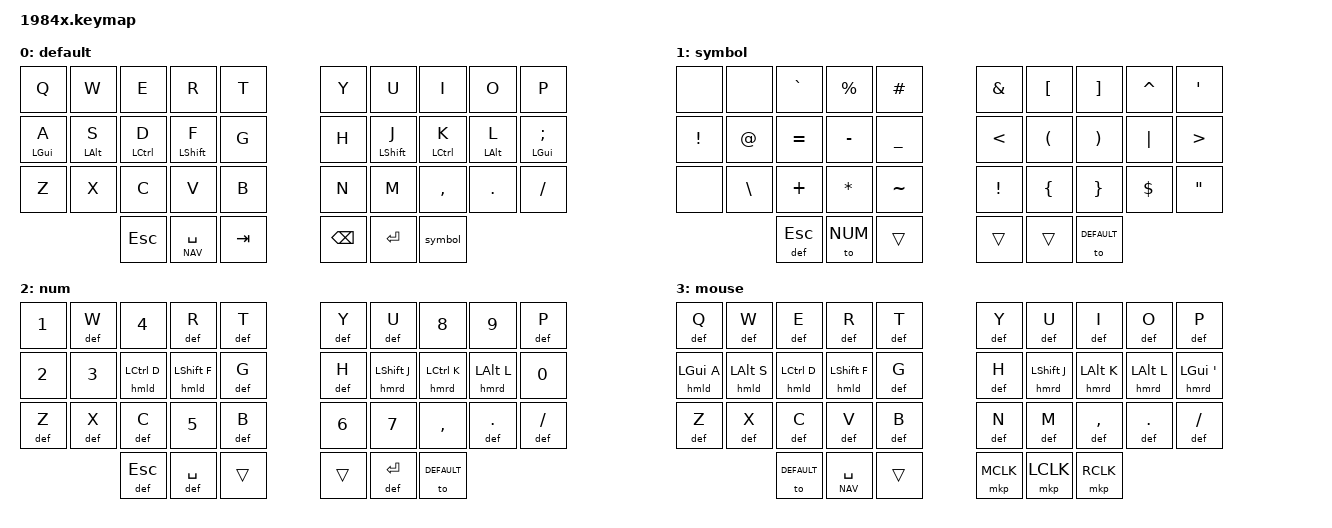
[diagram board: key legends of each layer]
/*
 * Copyright (c) 2020 The ZMK Contributors
 *
 * SPDX-License-Identifier: MIT
 */

#include <behaviors.dtsi>
#include <dt-bindings/zmk/keys.h>
#include <dt-bindings/zmk/bt.h>
#include <dt-bindings/zmk/ext_power.h>
#include <dt-bindings/zmk/mouse.h>

#define DEFAULT 0
#define SYMBOL  1
#define NUM     2
#define MOUSE   3
#define NAV     4




#ifdef HAS_MOUSE_KEYS
  #include <dt-bindings/zmk/mouse.h>
  #include <behaviors/mouse_keys.dtsi>
#endif  // HAS_MOUSE_KEYS

#ifdef HAS_MOUSE_TP
  // We store the trackpoint settings in a separate file
  // to make organization a little easier.
  #include "include/mouse_tp.dtsi"
#endif  // HAS_MOUSE_TP

#ifdef HAS_MOUSE_KEYS
  #define U_THUMB_INNER &mo MOUSE_KEYS
#else
  #define U_THUMB_INNER &none
#endif  // HAS_MOUSE_KEYS

#ifdef HAS_MOUSE_TP
  #define U_TOG_TP_SET &tog MOUSE_TP_SET
#else
  #define U_TOG_TP_SET &none
#endif  // HAS_MOUSE_TP

/ {
    behaviors {
        hml: homerow_mods_left {
             compatible = "zmk,behavior-hold-tap";
             flavor = "balanced";
             tapping-term-ms = <280>;
             #binding-cells = <2>;
             quick-tap-ms = <175>;                // repeat on tap-into-hold
             require-prior-idle-ms = <150>;
             bindings = <&kp>, <&kp>;
             hold-trigger-key-positions = <5 6 7 8 9 15 16 17 18 19 25 26 27 28 29 33 34 35>;
             hold-trigger-on-release;             // delay positional check until key-release
        };
        hmr: homerow_mods_right {
             compatible = "zmk,behavior-hold-tap";
             flavor = "balanced";
             tapping-term-ms = <280>;
             #binding-cells = <2>;
             quick-tap-ms = <175>;                // repeat on tap-into-hold
             require-prior-idle-ms = <150>;
             bindings = <&kp>, <&kp>;
             hold-trigger-key-positions = <0 1 2 3 4 10 11 12 13 14 20 21 22 23 24 30 31 32>;
             hold-trigger-on-release;             // delay positional check until key-release
        };
        hold: hold {
            compatible = "zmk,behavior-hold-tap";
            #binding-cells = <2>;
            tapping_term_ms = <135>;
            quick_tap_ms = <0>;
            flavor = "tap-preferred";
            bindings = <&kp>, <&kp>;
        };
    };

    combos {
        compatible = "zmk,combos";
    };
    macros {
      symbol: symbol {
            compatible = "zmk,behavior-tap-dance";
            #binding-cells = <0>;
            tapping-term-ms = <200>;
            bindings = <&sl SYMBOL>, <&to SYMBOL>;
       };
       hmld: hmld {
          compatible = "zmk,behavior-macro-two-param";
          wait-ms = <0>;
          tap-ms = <0>;
          #binding-cells = <2>;
          bindings
              = <&macro_press &to DEFAULT>
              , <&macro_param_1to1>
              , <&macro_param_2to2>
              , <&macro_press &hml MACRO_PLACEHOLDER MACRO_PLACEHOLDER>
              , <&macro_pause_for_release>
              , <&macro_param_1to1>
              , <&macro_param_2to2>
              , <&macro_release &hml MACRO_PLACEHOLDER MACRO_PLACEHOLDER>
              ;
       };
       hmrd: hmrd {
          compatible = "zmk,behavior-macro-two-param";
          wait-ms = <0>;
          tap-ms = <0>;
          #binding-cells = <2>;
          bindings
              = <&macro_press &to DEFAULT>
              , <&macro_param_1to1>
              , <&macro_param_2to2>
              , <&macro_press &hmr MACRO_PLACEHOLDER MACRO_PLACEHOLDER>
              , <&macro_pause_for_release>
              , <&macro_param_1to1>
              , <&macro_param_2to2>
              , <&macro_release &hmr MACRO_PLACEHOLDER MACRO_PLACEHOLDER>
              ;
       };
       def: def {
          compatible = "zmk,behavior-macro-one-param";
          wait-ms = <0>;
          tap-ms = <0>;
          #binding-cells = <1>;
          bindings
              = <&macro_param_1to1>
              , <&macro_tap &kp MACRO_PLACEHOLDER>
              , <&macro_tap &to DEFAULT>
              ;
       };
    };

    keymap {
        compatible = "zmk,keymap";

        default {
            bindings = <
    &kp  Q      &kp  W       &kp  E       &kp  R           &kp T           &kp Y       &kp  U       &kp  I       &kp  O       &kp P
    &hml LGUI A &hml LALT S  &hml LCTRL D &hml LSHFT F     &kp G           &kp H       &hmr LSHFT J &hmr LCTRL K &hmr LALT L  &hmr LGUI SEMI 
    &kp  Z      &kp  X       &kp C        &kp  V           &kp B           &kp N       &kp  M       &kp  COMMA   &kp  DOT     &kp FSLH
                             &kp ESC      &lt NAV SPACE    &kp TAB        &kp BSPC     &kp  RET     &symbol
			>;

        };


        symbol {
            bindings = <
    &none         &none     &kp GRAVE    &kp PRCNT      &kp HASH        &kp AMPS    &kp  LBKT    &kp  RBKT    &kp CARET    &kp SQT
    &kp EXCL      &kp AT    &kp EQUAL    &kp MINUS      &kp UNDER       &kp LT      &kp  LPAR    &kp  RPAR    &kp PIPE     &kp GT       
    &none         &kp BSLH  &kp PLUS     &kp STAR       &kp TILDE       &kp EXCL    &kp  LBRC    &kp  RBRC    &kp DLLR     &kp DQT
                            &def ESC     &to NUM        &trans          &trans      &trans       &to  DEFAULT 
            >;
        };

        num {
            bindings = <
    &kp N1     &def W        &kp  N4        &def R           &def T           &def Y        &def U           &kp  N8          &kp  N9        &def P
    &kp N2     &kp N3        &hmld LCTRL D  &hmld LSHIFT F   &def G           &def H        &hmrd LSHIFT J   &hmrd LCTRL K    &hmrd LALT L   &kp N0       
    &def Z     &def X        &def C         &kp  N5          &def B           &kp  N6       &kp  N7          &kp  COMMA       &def DOT       &def FSLH
                             &def ESC    &def SPACE       &trans              &trans        &def RET         &to DEFAULT 
            >;
        };

        mouse {
            bindings = <
    &def  Q        &def  W         &def  E         &def R            &def T           &def Y       &def  U           &def  I          &def  O       &def P
    &hmld LGUI A   &hmld LALT S    &hmld LCTRL D   &hmld LSHIFT F    &def G           &def H       &hmrd LSHIFT J    &hmrd LALT K     &hmrd LALT L  &hmrd LGUI SQT
    &def  Z        &def  X         &def  C         &def V            &def B           &def N       &def  M           &def  COMMA      &def  DOT     &def FSLH
                                   &to DEFAULT     &lt NAV SPACE     &trans           &mkp MCLK      &mkp LCLK         &mkp RCLK 
            >;
        };

     
    };
};


